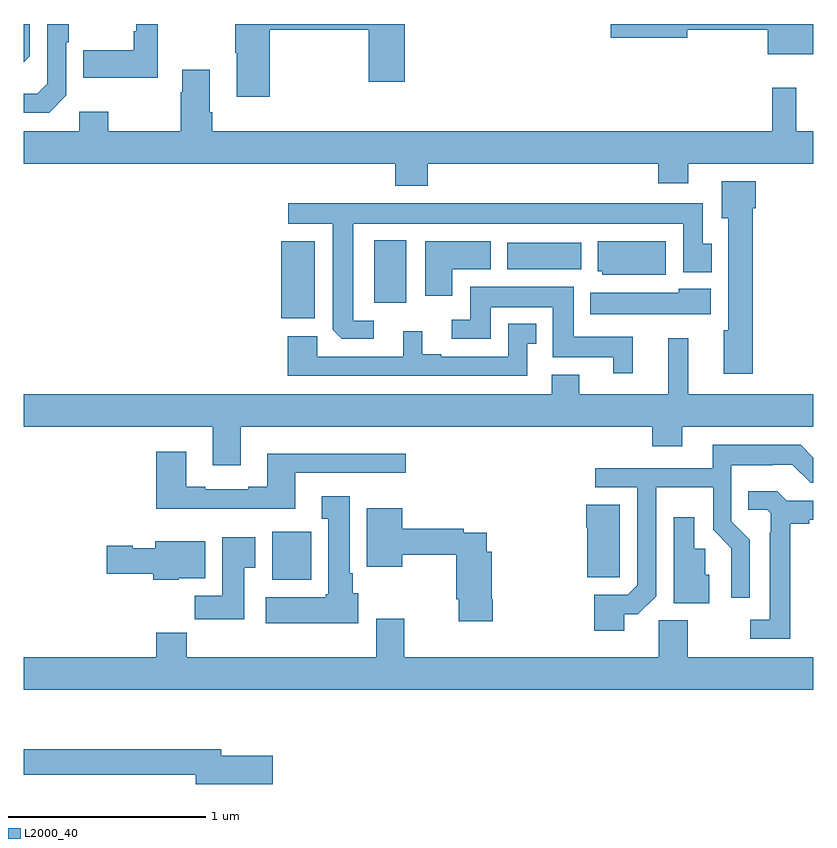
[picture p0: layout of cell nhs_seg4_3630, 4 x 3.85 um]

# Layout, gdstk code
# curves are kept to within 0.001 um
import gdstk
lib = gdstk.Library(unit=1e-6, precision=1e-09)
def R(c, l, rs):  # rectangles x0, y0, x1, y1
    for r in rs: c.add(gdstk.rectangle(r[:2], r[2:], *l))
def P(c, l, *ps):  # polygons
    for p in ps: c.add(gdstk.Polygon(p, *l))
L2000_40 = (2000, 40)

nhs_seg4_3630 = lib.new_cell('nhs_seg4_3630')
R(nhs_seg4_3630, L2000_40, [(304.259,756.086,304.456,756.328), (304.304,757.409,304.474,757.801), (304.775,757.488,304.939,757.804), (305.45,757.658,305.824,757.792)])
P(nhs_seg4_3630, L2000_40, [(303.679,758.9),(303.57,758.9),(303.57,758.863),(303.558,758.863),(303.558,758.767),(303.301,758.767),(303.301,758.627),(303.679,758.627)],
  [(307,758.9),(305.973,758.9),(305.973,758.83),(306.361,758.83),(306.361,758.872),(306.769,758.872),(306.769,758.747),(307,758.747)],
  [(304.247,758.872),(304.748,758.872),(304.748,758.607),(304.931,758.607),(304.931,758.9),(304.072,758.9),(304.072,758.755),(304.079,758.755),(304.079,758.532),(304.247,758.532)],
  [(303.03,758.736),(303.03,758.9),(303,758.9),(303,758.706)],
  [(303.216,758.538),(303.216,758.807),(303.229,758.807),(303.229,758.9),(303.12,758.9),(303.12,758.598),(303.069,758.547),(303,758.547),(303,758.451),(303.129,758.451)],
  [(305.048,758.192),(306.215,758.192),(306.215,758.093),(306.367,758.093),(306.367,758.192),(307,758.192),(307,758.356),(306.913,758.356),(306.913,758.578),(306.792,758.578),(306.792,758.356),(303.956,758.356),(303.956,758.452),(303.943,758.452),(303.943,758.668),(303.803,758.668),(303.803,758.555),(303.796,758.555),(303.796,758.356),(303.429,758.356),(303.429,758.455),(303.282,758.455),(303.282,758.356),(303,758.356),(303,758.192),(304.883,758.192),(304.883,758.081),(305.048,758.081)],
  [(306.692,757.968),(306.707,757.968),(306.707,758.104),(306.536,758.104),(306.536,757.917),(306.569,757.917),(306.569,757.35),(306.545,757.35),(306.545,757.128),(306.692,757.128)],
  [(304.774,757.398),(304.669,757.398),(304.669,757.889),(306.342,757.889),(306.342,757.644),(306.484,757.644),(306.484,757.788),(306.439,757.788),(306.439,757.993),(304.341,757.993),(304.341,757.889),(304.565,757.889),(304.566,757.351),(304.612,757.305),(304.774,757.305)],
  [(305.17,757.658),(305.365,757.658),(305.365,757.801),(305.033,757.801),(305.033,757.524),(305.17,757.524)],
  [(306.253,757.801),(305.909,757.801),(305.909,757.647),(305.931,757.647),(305.931,757.631),(306.253,757.631)],
  [(306.086,757.315),(305.785,757.315),(305.785,757.57),(305.261,757.57),(305.261,757.401),(305.169,757.401),(305.169,757.305),(305.365,757.305),(305.365,757.466),(305.681,757.466),(305.681,757.211),(305.987,757.211),(305.987,757.131),(306.086,757.131)],
  [(306.481,757.558),(306.318,757.558),(306.318,757.54),(305.87,757.54),(305.87,757.43),(306.481,757.43)],
  [(305.55,757.281),(305.596,757.281),(305.596,757.381),(305.454,757.381),(305.454,757.215),(305.116,757.215),(305.116,757.228),(305.02,757.228),(305.02,757.345),(304.922,757.345),(304.922,757.215),(304.488,757.215),(304.488,757.318),(304.337,757.318),(304.337,757.119),(305.55,757.119)],
  [(304.099,756.86),(306.185,756.86),(306.185,756.761),(306.337,756.761),(306.337,756.86),(307,756.86),(307,757.024),(306.365,757.024),(306.365,757.309),(306.266,757.309),(306.266,757.024),(305.815,757.024),(305.815,757.123),(305.675,757.123),(305.675,757.024),(303,757.024),(303,756.86),(303.959,756.86),(303.959,756.666),(304.099,756.666)],
  [(306.043,755.911),(306.111,755.911),(306.204,756.003),(306.204,756.554),(306.492,756.554),(306.492,756.338),(306.584,756.246),(306.584,755.994),(306.678,755.994),(306.678,756.288),(306.585,756.381),(306.585,756.665),(306.794,756.665),(306.794,756.669),(306.894,756.669),(306.987,756.576),(307,756.576),(307,756.704),(306.935,756.769),(306.491,756.769),(306.491,756.651),(305.895,756.651),(305.895,756.555),(306.108,756.555),(306.108,756.057),(306.06,756.009),(305.891,756.009),(305.891,755.826),(306.043,755.826)],
  [(304.375,756.627),(304.936,756.627),(304.936,756.724),(304.235,756.724),(304.235,756.556),(304.139,756.556),(304.139,756.543),(303.919,756.543),(303.919,756.556),(303.823,756.556),(303.823,756.733),(303.671,756.733),(303.671,756.446),(304.375,756.446)],
  [(306.883,756.37),(306.979,756.37),(306.979,756.39),(307,756.39),(307,756.486),(306.864,756.486),(306.816,756.533),(306.67,756.533),(306.67,756.441),(306.765,756.441),(306.783,756.423),(306.783,756.323),(306.779,756.323),(306.779,755.883),(306.681,755.883),(306.681,755.787),(306.883,755.787)],
  [(304.696,756.018),(304.666,756.018),(304.666,756.118),(304.651,756.118),(304.651,756.508),(304.511,756.508),(304.511,756.395),(304.544,756.395),(304.544,756.012),(304.531,756.012),(304.531,755.998),(304.227,755.998),(304.227,755.864),(304.696,755.864)],
  [(306.019,756.466),(305.849,756.466),(305.849,756.35),(305.854,756.35),(305.854,756.099),(306.019,756.099)],
  [(305.375,755.986),(305.37,755.986),(305.37,756.226),(305.345,756.226),(305.345,756.324),(305.228,756.324),(305.228,756.344),(304.918,756.344),(304.918,756.448),(304.739,756.448),(304.739,756.152),(304.918,756.152),(304.918,756.212),(305.192,756.212),(305.192,755.986),(305.204,755.986),(305.204,755.874),(305.375,755.874)],
  [(306.472,756.111),(306.453,756.111),(306.453,756.243),(306.397,756.243),(306.397,756.403),(306.293,756.403),(306.293,755.966),(306.472,755.966)],
  [(304.117,756.145),(304.174,756.145),(304.174,756.301),(304.007,756.301),(304.007,756.004),(303.868,756.004),(303.868,755.886),(304.117,755.886)],
  [(303.786,756.092),(303.919,756.092),(303.919,756.28),(303.668,756.28),(303.668,756.244),(303.552,756.244),(303.552,756.257),(303.42,756.257),(303.42,756.115),(303.656,756.115),(303.656,756.086),(303.786,756.086)],
  [(307,755.692),(306.363,755.692),(306.363,755.881),(306.216,755.881),(306.216,755.692),(304.927,755.692),(304.927,755.887),(304.787,755.887),(304.787,755.692),(303.827,755.692),(303.827,755.816),(303.671,755.816),(303.671,755.692),(303,755.692),(303,755.528),(307,755.528)],
  [(304.261,755.193),(304,755.193),(304,755.227),(303,755.227),(303,755.098),(303.872,755.098),(303.872,755.051),(304.261,755.051)])

lib.write_gds('nhs_seg4_3630.gds')
